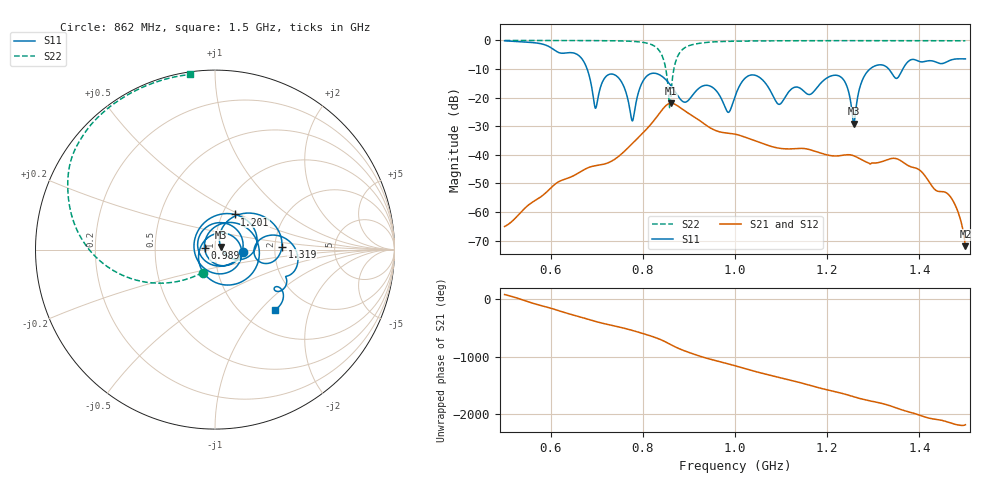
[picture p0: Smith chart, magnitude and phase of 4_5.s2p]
! TOUCHSTONE file generated by CST MICROWAVE STUDIO
! Date and time: Mon Nov 30 08:40:28 2020
! Project name: Scenario_1_Planar_Body_Tissue_Out_of_Line.cst
! Parameters = {dy1=-294.1; L_HA=400; Ltissue=700; MT=2.54; Rad_Dielectric=30; Rad_Lower=7.3; Rad_Upper=30; Wtissue=700; a_HA=580; a_WG=246; b_HA=500; b_WG=121; c_HA=0; c_WG=187; d_feed=85; dx1=866; h_feed=15; h_lower=18; h_upper=40; hfat=3; hgap=25; hmuscle=50; hskin=1.5}
! Header version: 2018
! Port assignment regex: !\s*Touchstone port\s*([0-9]+)\s*=\s*(CST MWS port|CST DS port)\s*([0-9]+|Zmin|Zmax)\s*\(\"(.*)\"\)(\s*mode\s*([0-9]+))?.*
! Touchstone port assignment:
! Touchstone port 1 = CST MWS port 1 ("")
! Touchstone port 2 = CST MWS port 2 ("")
# GHz S DB R 50
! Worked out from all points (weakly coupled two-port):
!   1003 points, 500 MHz to 1.5 GHz, reference 50 ohm
!   highest |S21| = -21.95 dB at 861 MHz (marker M1); lowest = -71.9 dB at 1.5 GHz (marker M2)
!   lowest |S11| = -29.1 dB at 1.258 GHz (marker M3), VSWR 1.07, Z = 53.3 + j1.53 ohm
!   |S11| at or under -10 dB: 679.2 MHz to 1.293 GHz (613.7 MHz wide, 62.2 % of centre); 1.334 GHz to 1.364 GHz (30.46 MHz wide, 2.26 % of centre)
!   |S22| runs from -23.5 to 0.0 dB; largest |S21 - S12| = 2.8e-05
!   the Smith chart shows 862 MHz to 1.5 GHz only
!   S11 on the Smith chart (normalised r, x): 862 MHz: 1.37, -0.04; 989 MHz: 0.89, +0.02; 1.201 GHz: 1.14, +0.47; 1.319 GHz: 2.19, +0.09; 1.5 GHz: 1.39, -1.22
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0.5  -0.12 -122.1  -65.04 86.2  -65.04 86.2  -0.01 151.2
0.583  -1.31 -167.3  -54.12 -113.8  -54.12 -113.8  -0.02 145.4
0.667  -6.25 125.1  -45.68 50.2  -45.68 50.2  -0.04 138.4
0.697  -23.71 136.4  -43.79 -22.0  -43.79 -22.0  -0.06 135.2
0.737  -11.89 140.0  -41.73 -99.0  -41.73 -99.0  -0.13 129.8
0.777  -28.14 137.6  -36.06 -178.7  -36.06 -178.7  -0.32 121.3
0.834  -11.84 75.8  -25.91 35.8  -25.91 35.8  -3.23 84.7
0.861  -15.85 -1.9  -21.95 -68.8  -21.95 -68.8  -18.88 -107.8
0.862  -16.07 -5.1  -21.95 -73.1  -21.95 -73.1  -16.77 -118.2
0.888  -21.47 -111.0  -24.28 -167.6  -24.29 -167.6  -2.89 178.4
0.989  -24.59 171.2  -32.48 -50.4  -32.48 -50.4  -0.30 141.9
1  -19.56 105.5  -32.75 -76.1  -32.75 -76.1  -0.27 140.3
1.037  -12.05 -13.2  -34.69 -160.1  -34.69 -160.1  -0.19 135.9
1.167  -18.50 170.1  -38.40 -68.0  -38.40 -68.0  -0.10 124.2
1.201  -12.96 60.6  -40.06 -136.8  -40.06 -136.8  -0.09 121.6
1.236  -13.85 -7.8  -40.08 155.7  -40.08 155.7  -0.08 119.0
1.258  -29.07 24.0  -40.32 102.8  -40.32 102.8  -0.09 117.3
1.281  -12.36 54.9  -42.23 54.8  -42.23 54.8  -0.08 115.6
1.319  -8.57 2.6  -42.35 -12.2  -42.35 -12.2  -0.08 112.7
1.334  -10.05 -13.7  -41.48 -46.1  -41.48 -46.1  -0.09 111.6
1.464  -7.13 -31.5  -53.96 17.0  -53.96 17.0  -0.11 101.2
1.5  -6.45 -45.2  -71.91 -23.2  -71.91 -23.3  -0.13 98.0
